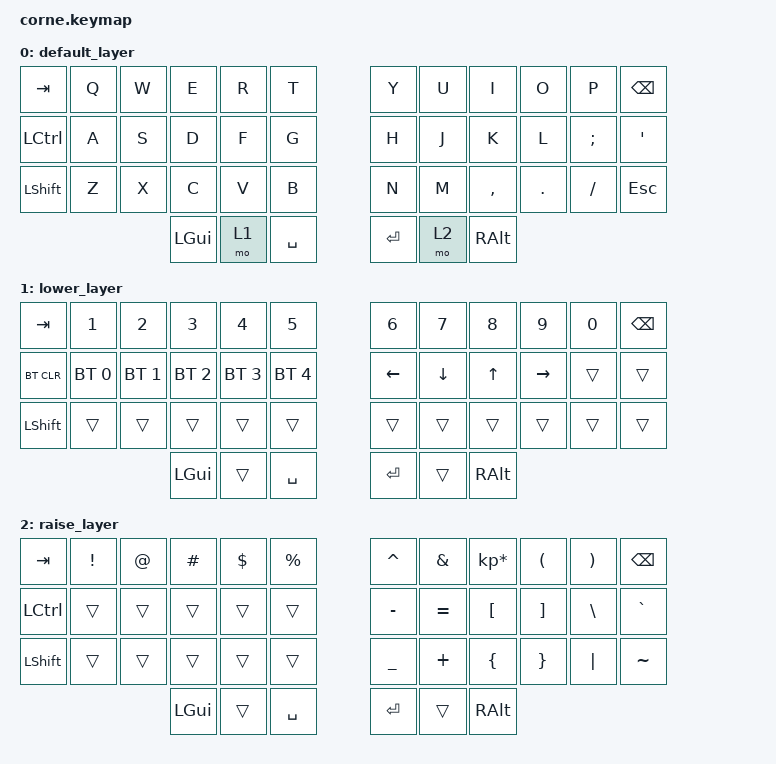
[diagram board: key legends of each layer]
/*
 * Copyright (c) 2020 The ZMK Contributors
 *
 * SPDX-License-Identifier: MIT
 */

#include <behaviors.dtsi>
#include <dt-bindings/zmk/keys.h>
#include <dt-bindings/zmk/bt.h>

/ {
        keymap {
                compatible = "zmk,keymap";

                default_layer {
// -----------------------------------------------------------------------------------------
// |  TAB |  Q  |  W  |  F  |  P  |  G  |   |  J  |  L   |  U  |  Y  |  ;  | / |
// | SHFT |  A  |  R  |  S  |  T  |  D  |   |  H  |  N   |  E  |  I  |  O  |  BKSP   |
// | CTRL |  Z  |  X  |  C  |  V  |  B  |   |  K  |  M   |  ,  |  .  |  '  | ENT  |
//                    | GUI | LWR | SPC |   | SHFT | RSE  | GUI |
                        bindings = <
   &kp TAB   &kp Q &kp W &kp E &kp R &kp T   &kp Y &kp U  &kp I     &kp O   &kp P    &kp BSPC
   &kp LCTRL &kp A &kp S &kp D &kp F &kp G   &kp H &kp J  &kp K     &kp L   &kp SEMI &kp SQT
   &kp LSHFT &kp Z &kp X &kp C &kp V &kp B   &kp N &kp M  &kp COMMA &kp DOT &kp FSLH &kp ESC
                  &kp LGUI &mo 1 &kp SPACE   &kp RET &mo 2 &kp RALT
                        >;
                };
                lower_layer {
// -----------------------------------------------------------------------------------------
// |  +  |  *  |  7  |  8  |  9  |BKSP |   |  !  |  @  |  #  | $  |  %  | - |
// |  -  |  /  |  4  |  5  |  6  | ENT |   |     | LFT | DWN | UP | RGT | BKSP |
// |  (  |  )  |  1  |  2  |  3  |  =  |   |     |     |     |    |     | ENT  |
//                    | 0 |     | SPC |   | SPC |     | GUI |
                        bindings = <
   &kp TAB    &kp N1       &kp N2       &kp N3       &kp N4       &kp N5         &kp N6   &kp N7   &kp N8 &kp N9    &kp N0 &kp BSPC
   &bt BT_CLR &bt BT_SEL 0 &bt BT_SEL 1 &bt BT_SEL 2 &bt BT_SEL 3 &bt BT_SEL 4   &kp LEFT &kp DOWN &kp UP &kp RIGHT &trans &trans
   &kp LSHFT  &trans       &trans       &trans       &trans       &trans         &trans   &trans   &trans &trans    &trans &trans
                                    &kp LGUI     &trans       &kp SPACE      &kp RET  &trans   &kp RALT
                        >;
                };

                raise_layer {
// -----------------------------------------------------------------------------------------
// |  TAB |  !  |  @  |  #  |  $  |  %  |   |  ^  |  &  |  *  |  (  |  )  | BKSP |
// | CTRL |     |     |     |     |     |   |  -  |  =  |  [  |  ]  |  \  |  `   |
// | SHFT |     |     |     |     |     |   |  _  |  +  |  {  |  }  | "|" |  ~   |
//                    | GUI |     | SPC |   | ENT |     | ALT |
                        bindings = <
   &kp  TAB  &kp EXCL &kp AT &kp HASH &kp DLLR &kp PRCNT   &kp CARET &kp AMPS  &kp KP_MULTIPLY &kp LPAR &kp RPAR &kp BSPC
   &kp LCTRL &trans   &trans &trans   &trans   &trans      &kp MINUS &kp EQUAL &kp LBKT        &kp RBKT &kp BSLH &kp GRAVE
   &kp LSHFT &trans   &trans &trans   &trans   &trans      &kp UNDER &kp PLUS  &kp LBRC        &kp RBRC &kp PIPE &kp TILDE
                             &kp LGUI &trans   &kp SPACE   &kp RET   &trans    &kp RALT
                        >;
                };
        };
};

